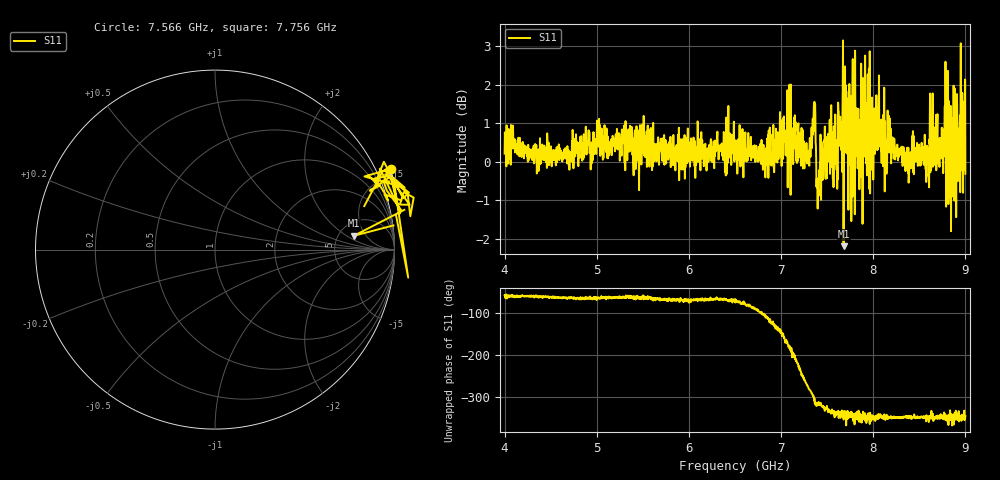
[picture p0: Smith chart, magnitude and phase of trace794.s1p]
! Created with skrf 1.8.0 (http://scikit-rf.org).
# Hz S RI R 50.0
!freq ReS11 ImS11
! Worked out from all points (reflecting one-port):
!   1601 points, 4 GHz to 9 GHz, reference 50 ohm
!   lowest |S11| = -2.2 dB at 7.678 GHz (marker M1), VSWR 7.97, Z = 346 + j134 ohm
!   phase of S11 starts at -57 deg and turns -289 deg over the sweep
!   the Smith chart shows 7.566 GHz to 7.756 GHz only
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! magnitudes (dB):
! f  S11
! 4 GHz  0.2
! 4.094 GHz  0.6
! 4.625 GHz  0.0
! 5.028 GHz  0.5
! 5.25 GHz  0.0
! 5.875 GHz  0.2
! 6.5 GHz  0.3
! 6.819 GHz  0.3
! 7.069 GHz  1.9
! 7.125 GHz  0.6
! 7.294 GHz  0.1
! 7.353 GHz  1.2
! 7.409 GHz  -0.9
! 7.45 GHz  -0.5
! 7.591 GHz  0.6
! 7.678 GHz  -2.2
! 7.75 GHz  0.1
! 7.928 GHz  0.7
! 7.981 GHz  -0.2
! 8.038 GHz  1.0
! 8.375 GHz  0.0
! 8.581 GHz  -0.4
! 8.656 GHz  0.9
! 8.725 GHz  0.4
! 8.788 GHz  0.3
! 8.856 GHz  0.1
! 8.972 GHz  0.1
! 9 GHz  -0.3
